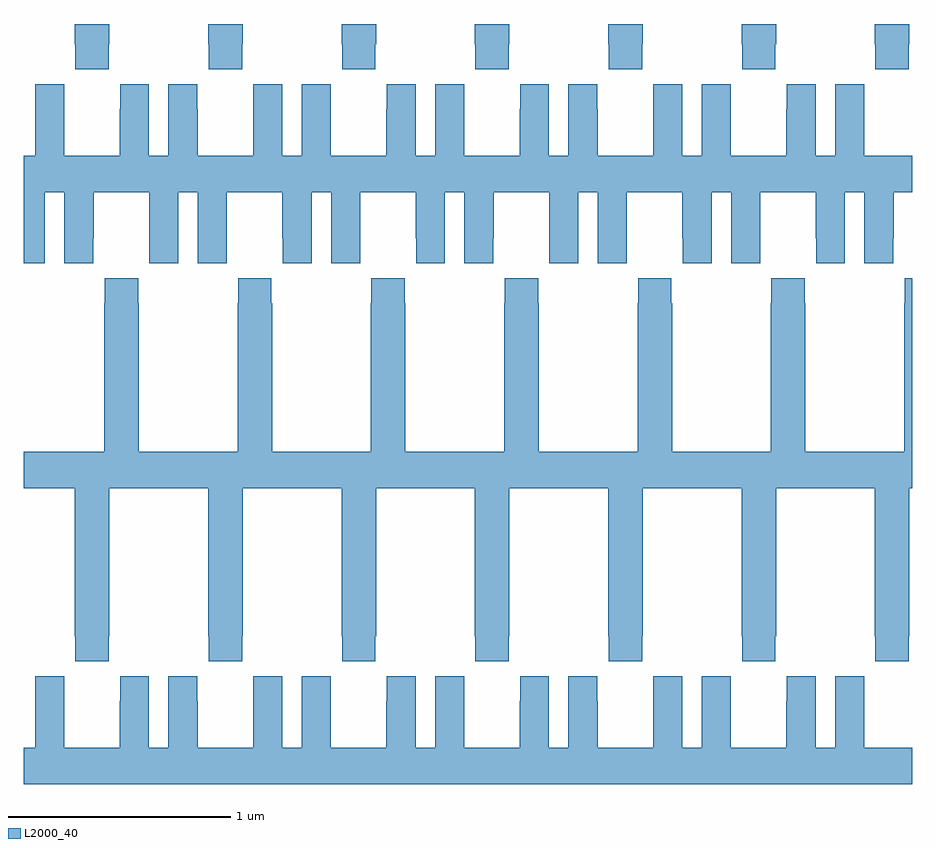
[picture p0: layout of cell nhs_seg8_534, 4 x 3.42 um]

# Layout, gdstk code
import gdstk
lib = gdstk.Library(unit=1e-6, precision=1e-09)
def P(c, l, *ps):  # polygons
    for p in ps: c.add(gdstk.Polygon(p, *l))
L2000_40 = (2000, 40)

nhs_seg8_534 = lib.new_cell('nhs_seg8_534')
P(nhs_seg8_534, L2000_40, [(145.983,1139.809),(145.986,1139.809),(145.986,1139.9),(145.831,1139.9),(145.831,1139.809),(145.833,1139.809),(145.833,1139.697),(145.983,1139.697)],
  [(146.583,1139.809),(146.586,1139.809),(146.586,1139.9),(146.431,1139.9),(146.431,1139.809),(146.433,1139.809),(146.433,1139.697),(146.583,1139.697)],
  [(147.183,1139.809),(147.186,1139.809),(147.186,1139.9),(147.031,1139.9),(147.031,1139.809),(147.033,1139.809),(147.033,1139.697),(147.183,1139.697)],
  [(147.783,1139.809),(147.786,1139.809),(147.786,1139.9),(147.631,1139.9),(147.631,1139.809),(147.633,1139.809),(147.633,1139.697),(147.783,1139.697)],
  [(148.383,1139.809),(148.386,1139.809),(148.386,1139.9),(148.231,1139.9),(148.231,1139.809),(148.233,1139.809),(148.233,1139.697),(148.383,1139.697)],
  [(148.983,1139.809),(148.986,1139.809),(148.986,1139.9),(148.831,1139.9),(148.831,1139.809),(148.833,1139.809),(148.833,1139.697),(148.983,1139.697)],
  [(145.383,1139.809),(145.386,1139.809),(145.386,1139.9),(145.231,1139.9),(145.231,1139.809),(145.233,1139.809),(145.233,1139.697),(145.383,1139.697)],
  [(145.565,1138.936),(145.566,1138.936),(145.566,1138.824),(145.696,1138.824),(145.696,1139.144),(145.784,1139.144),(145.784,1138.824),(145.914,1138.824),(145.914,1138.936),(145.915,1138.936),(145.915,1139.144),(146.165,1139.144),(146.165,1138.936),(146.166,1138.936),(146.166,1138.824),(146.296,1138.824),(146.296,1139.144),(146.384,1139.144),(146.384,1138.824),(146.514,1138.824),(146.514,1138.936),(146.515,1138.936),(146.515,1139.144),(146.765,1139.144),(146.765,1138.936),(146.766,1138.936),(146.766,1138.824),(146.896,1138.824),(146.896,1139.144),(146.984,1139.144),(146.984,1138.824),(147.114,1138.824),(147.114,1138.936),(147.115,1138.936),(147.115,1139.144),(147.365,1139.144),(147.365,1138.936),(147.366,1138.936),(147.366,1138.824),(147.496,1138.824),(147.496,1139.144),(147.584,1139.144),(147.584,1138.824),(147.714,1138.824),(147.714,1138.936),(147.715,1138.936),(147.715,1139.144),(147.965,1139.144),(147.965,1138.936),(147.966,1138.936),(147.966,1138.824),(148.096,1138.824),(148.096,1139.144),(148.184,1139.144),(148.184,1138.824),(148.314,1138.824),(148.314,1138.936),(148.315,1138.936),(148.315,1139.144),(148.565,1139.144),(148.565,1138.936),(148.566,1138.936),(148.566,1138.824),(148.696,1138.824),(148.696,1139.144),(148.784,1139.144),(148.784,1138.824),(148.914,1138.824),(148.914,1138.936),(148.915,1138.936),(148.915,1139.144),(149,1139.144),(149,1139.308),(148.783,1139.308),(148.783,1139.516),(148.782,1139.516),(148.782,1139.629),(148.652,1139.629),(148.652,1139.308),(148.564,1139.308),(148.564,1139.629),(148.434,1139.629),(148.434,1139.516),(148.433,1139.516),(148.433,1139.308),(148.183,1139.308),(148.183,1139.516),(148.182,1139.516),(148.182,1139.629),(148.052,1139.629),(148.052,1139.308),(147.964,1139.308),(147.964,1139.629),(147.834,1139.629),(147.834,1139.516),(147.833,1139.516),(147.833,1139.308),(147.583,1139.308),(147.583,1139.516),(147.582,1139.516),(147.582,1139.629),(147.452,1139.629),(147.452,1139.308),(147.364,1139.308),(147.364,1139.629),(147.234,1139.629),(147.234,1139.516),(147.233,1139.516),(147.233,1139.308),(146.983,1139.308),(146.983,1139.516),(146.982,1139.516),(146.982,1139.629),(146.852,1139.629),(146.852,1139.308),(146.764,1139.308),(146.764,1139.629),(146.634,1139.629),(146.634,1139.516),(146.633,1139.516),(146.633,1139.308),(146.383,1139.308),(146.383,1139.516),(146.382,1139.516),(146.382,1139.629),(146.252,1139.629),(146.252,1139.308),(146.164,1139.308),(146.164,1139.629),(146.034,1139.629),(146.034,1139.516),(146.033,1139.516),(146.033,1139.308),(145.783,1139.308),(145.783,1139.516),(145.782,1139.516),(145.782,1139.629),(145.652,1139.629),(145.652,1139.308),(145.564,1139.308),(145.564,1139.629),(145.434,1139.629),(145.434,1139.516),(145.433,1139.516),(145.433,1139.308),(145.183,1139.308),(145.183,1139.516),(145.182,1139.516),(145.182,1139.629),(145.052,1139.629),(145.052,1139.308),(145,1139.308),(145,1138.824),(145.096,1138.824),(145.096,1139.144),(145.184,1139.144),(145.184,1138.824),(145.314,1138.824),(145.314,1138.936),(145.315,1138.936),(145.315,1139.144),(145.565,1139.144)],
  [(145.383,1137.145),(145.386,1137.145),(145.386,1137.812),(145.831,1137.812),(145.831,1137.145),(145.833,1137.145),(145.833,1137.033),(145.983,1137.033),(145.983,1137.145),(145.986,1137.145),(145.986,1137.812),(146.431,1137.812),(146.431,1137.145),(146.433,1137.145),(146.433,1137.033),(146.583,1137.033),(146.583,1137.145),(146.586,1137.145),(146.586,1137.812),(147.031,1137.812),(147.031,1137.145),(147.033,1137.145),(147.033,1137.033),(147.183,1137.033),(147.183,1137.145),(147.186,1137.145),(147.186,1137.812),(147.631,1137.812),(147.631,1137.145),(147.633,1137.145),(147.633,1137.033),(147.783,1137.033),(147.783,1137.145),(147.786,1137.145),(147.786,1137.812),(148.231,1137.812),(148.231,1137.145),(148.233,1137.145),(148.233,1137.033),(148.383,1137.033),(148.383,1137.145),(148.386,1137.145),(148.386,1137.812),(148.831,1137.812),(148.831,1137.145),(148.833,1137.145),(148.833,1137.033),(148.983,1137.033),(148.983,1137.145),(148.986,1137.145),(148.986,1137.812),(149,1137.812),(149,1138.756),(148.965,1138.756),(148.965,1138.643),(148.963,1138.643),(148.963,1137.976),(148.518,1137.976),(148.518,1138.643),(148.515,1138.643),(148.515,1138.756),(148.365,1138.756),(148.365,1138.643),(148.363,1138.643),(148.363,1137.976),(147.918,1137.976),(147.918,1138.643),(147.915,1138.643),(147.915,1138.756),(147.765,1138.756),(147.765,1138.643),(147.763,1138.643),(147.763,1137.976),(147.318,1137.976),(147.318,1138.643),(147.315,1138.643),(147.315,1138.756),(147.165,1138.756),(147.165,1138.643),(147.163,1138.643),(147.163,1137.976),(146.718,1137.976),(146.718,1138.643),(146.715,1138.643),(146.715,1138.756),(146.565,1138.756),(146.565,1138.643),(146.563,1138.643),(146.563,1137.976),(146.118,1137.976),(146.118,1138.643),(146.115,1138.643),(146.115,1138.756),(145.965,1138.756),(145.965,1138.643),(145.963,1138.643),(145.963,1137.976),(145.518,1137.976),(145.518,1138.643),(145.515,1138.643),(145.515,1138.756),(145.365,1138.756),(145.365,1138.643),(145.363,1138.643),(145.363,1137.976),(145,1137.976),(145,1137.812),(145.231,1137.812),(145.231,1137.145),(145.233,1137.145),(145.233,1137.033),(145.383,1137.033)],
  [(145.434,1136.965),(145.434,1136.852),(145.433,1136.852),(145.433,1136.644),(145.183,1136.644),(145.183,1136.852),(145.182,1136.852),(145.182,1136.965),(145.052,1136.965),(145.052,1136.644),(145,1136.644),(145,1136.48),(149,1136.48),(149,1136.644),(148.783,1136.644),(148.783,1136.852),(148.782,1136.852),(148.782,1136.965),(148.652,1136.965),(148.652,1136.644),(148.564,1136.644),(148.564,1136.965),(148.434,1136.965),(148.434,1136.852),(148.433,1136.852),(148.433,1136.644),(148.183,1136.644),(148.183,1136.852),(148.182,1136.852),(148.182,1136.965),(148.052,1136.965),(148.052,1136.644),(147.964,1136.644),(147.964,1136.965),(147.834,1136.965),(147.834,1136.852),(147.833,1136.852),(147.833,1136.644),(147.583,1136.644),(147.583,1136.852),(147.582,1136.852),(147.582,1136.965),(147.452,1136.965),(147.452,1136.644),(147.364,1136.644),(147.364,1136.965),(147.234,1136.965),(147.234,1136.852),(147.233,1136.852),(147.233,1136.644),(146.983,1136.644),(146.983,1136.852),(146.982,1136.852),(146.982,1136.965),(146.852,1136.965),(146.852,1136.644),(146.764,1136.644),(146.764,1136.965),(146.634,1136.965),(146.634,1136.852),(146.633,1136.852),(146.633,1136.644),(146.383,1136.644),(146.383,1136.852),(146.382,1136.852),(146.382,1136.965),(146.252,1136.965),(146.252,1136.644),(146.164,1136.644),(146.164,1136.965),(146.034,1136.965),(146.034,1136.852),(146.033,1136.852),(146.033,1136.644),(145.783,1136.644),(145.783,1136.852),(145.782,1136.852),(145.782,1136.965),(145.652,1136.965),(145.652,1136.644),(145.564,1136.644),(145.564,1136.965)])

lib.write_gds('nhs_seg8_534.gds')
